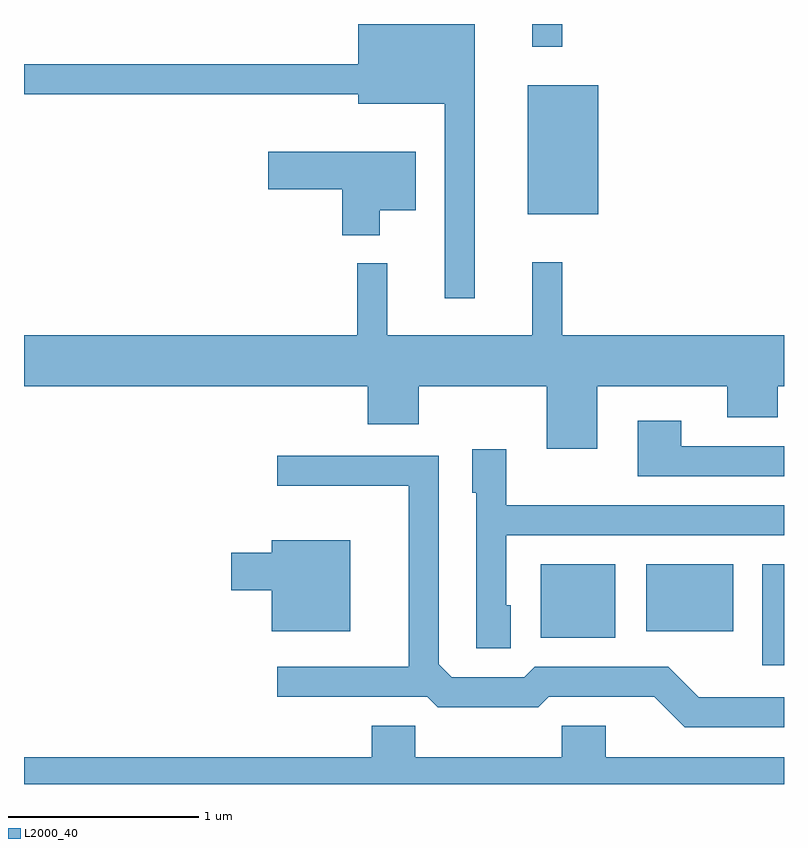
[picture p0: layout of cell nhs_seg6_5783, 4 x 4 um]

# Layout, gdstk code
import gdstk
lib = gdstk.Library(unit=1e-6, precision=1e-09)
def R(c, l, rs):  # rectangles x0, y0, x1, y1
    for r in rs: c.add(gdstk.rectangle(r[:2], r[2:], *l))
def P(c, l, *ps):  # polygons
    for p in ps: c.add(gdstk.Polygon(p, *l))
L2000_40 = (2000, 40)

nhs_seg6_5783 = lib.new_cell('nhs_seg6_5783')
R(nhs_seg6_5783, L2000_40, [(365.496,1550.788,365.611,1551.319), (364.331,1550.931,364.724,1551.319), (364.886,1550.966,365.344,1551.319), (364.261,1553.161,364.634,1553.839), (364.286,1554.043,364.444,1554.162)])
P(nhs_seg6_5783, L2000_40, [(363.984,1554.162),(363.371,1554.162),(363.371,1553.949),(361.611,1553.949),(361.611,1553.791),(363.371,1553.791),(363.371,1553.741),(363.826,1553.741),(363.826,1552.718),(363.984,1552.718)],
  [(363.484,1553.181),(363.674,1553.181),(363.674,1553.489),(362.896,1553.489),(362.896,1553.291),(363.286,1553.291),(363.286,1553.051),(363.484,1553.051)],
  [(364.629,1552.256),(365.311,1552.256),(365.311,1552.091),(365.579,1552.091),(365.579,1552.256),(365.611,1552.256),(365.611,1552.524),(364.444,1552.524),(364.444,1552.908),(364.286,1552.908),(364.286,1552.524),(363.524,1552.524),(363.524,1552.903),(363.366,1552.903),(363.366,1552.524),(361.611,1552.524),(361.611,1552.256),(363.421,1552.256),(363.421,1552.056),(363.689,1552.056),(363.689,1552.256),(364.361,1552.256),(364.361,1551.926),(364.629,1551.926)],
  [(365.611,1551.939),(365.069,1551.939),(365.069,1552.074),(364.841,1552.074),(364.841,1551.781),(365.611,1551.781)],
  [(364.174,1551.104),(364.149,1551.104),(364.149,1551.471),(365.611,1551.471),(365.611,1551.629),(364.149,1551.629),(364.149,1551.924),(363.971,1551.924),(363.971,1551.696),(363.991,1551.696),(363.991,1550.876),(364.174,1550.876)],
  [(365.611,1550.619),(365.162,1550.619),(365.002,1550.779),(364.299,1550.779),(364.244,1550.724),(363.862,1550.724),(363.794,1550.792),(363.794,1551.889),(362.943,1551.889),(362.943,1551.731),(363.636,1551.731),(363.636,1550.779),(362.943,1550.779),(362.943,1550.621),(363.734,1550.621),(363.789,1550.566),(364.317,1550.566),(364.372,1550.621),(364.929,1550.621),(365.089,1550.461),(365.611,1550.461)],
  [(363.329,1551.444),(362.916,1551.444),(362.916,1551.379),(362.701,1551.379),(362.701,1551.181),(362.916,1551.181),(362.916,1550.966),(363.329,1550.966)],
  [(365.611,1550.304),(364.674,1550.304),(364.674,1550.469),(364.441,1550.469),(364.441,1550.304),(363.669,1550.304),(363.669,1550.469),(363.441,1550.469),(363.441,1550.304),(361.611,1550.304),(361.611,1550.162),(365.611,1550.162)])

lib.write_gds('nhs_seg6_5783.gds')
